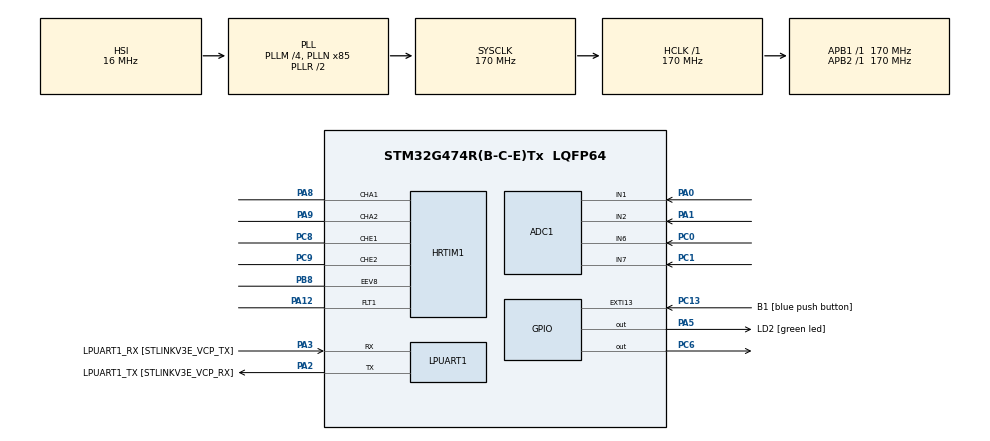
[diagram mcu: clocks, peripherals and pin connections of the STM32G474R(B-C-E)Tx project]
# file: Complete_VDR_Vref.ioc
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ADC1.Channel-0\#ChannelRegularConversion=ADC_CHANNEL_2
ADC1.Channel-1\#ChannelRegularConversion=ADC_CHANNEL_1
ADC1.Channel-2\#ChannelRegularConversion=ADC_CHANNEL_7
ADC1.Channel-3\#ChannelRegularConversion=ADC_CHANNEL_6
ADC1.ContinuousConvMode=ENABLE
ADC1.DMAContinuousRequests=ENABLE
ADC1.DiscontinuousConvMode=DISABLE
ADC1.EOCSelection=ADC_EOC_SEQ_CONV
ADC1.NbrOfConversion=4
ADC1.NbrOfConversionFlag=1
ADC1.OffsetNumber-0\#ChannelRegularConversion=ADC_OFFSET_NONE
ADC1.OffsetNumber-1\#ChannelRegularConversion=ADC_OFFSET_NONE
ADC1.OffsetNumber-2\#ChannelRegularConversion=ADC_OFFSET_NONE
ADC1.OffsetNumber-3\#ChannelRegularConversion=ADC_OFFSET_NONE
ADC1.Rank-0\#ChannelRegularConversion=1
ADC1.Rank-1\#ChannelRegularConversion=2
ADC1.Rank-2\#ChannelRegularConversion=3
ADC1.Rank-3\#ChannelRegularConversion=4
ADC1.SamplingTime-0\#ChannelRegularConversion=ADC_SAMPLETIME_47CYCLES_5
ADC1.SamplingTime-1\#ChannelRegularConversion=ADC_SAMPLETIME_47CYCLES_5
ADC1.SamplingTime-2\#ChannelRegularConversion=ADC_SAMPLETIME_47CYCLES_5
ADC1.SamplingTime-3\#ChannelRegularConversion=ADC_SAMPLETIME_47CYCLES_5
ADC1.master=1
Dma.ADC1.0.Direction=DMA_PERIPH_TO_MEMORY
Dma.ADC1.0.EventEnable=DISABLE
Dma.ADC1.0.Instance=DMA1_Channel1
Dma.ADC1.0.MemDataAlignment=DMA_MDATAALIGN_WORD
Dma.ADC1.0.MemInc=DMA_MINC_ENABLE
Dma.ADC1.0.Mode=DMA_CIRCULAR
Dma.ADC1.0.PeriphDataAlignment=DMA_PDATAALIGN_WORD
Dma.ADC1.0.PeriphInc=DMA_PINC_DISABLE
Dma.ADC1.0.Polarity=HAL_DMAMUX_REQ_GEN_RISING
Dma.ADC1.0.Priority=DMA_PRIORITY_LOW
Dma.ADC1.0.RequestNumber=1
Dma.ADC1.0.SignalID=NONE
Dma.ADC1.0.SyncEnable=DISABLE
Dma.ADC1.0.SyncPolarity=HAL_DMAMUX_SYNC_NO_EVENT
Dma.ADC1.0.SyncRequestNumber=1
Dma.ADC1.0.SyncSignalID=NONE
Dma.Request0=ADC1
HRTIM1.CompareUnit1-Output_TA1TA2=HRTIM_COMPAREUNIT_1
HRTIM1.CompareUnit1-Output_TE1TE2=HRTIM_COMPAREUNIT_1
HRTIM1.CompareUnit2-Output_TA1TA2=HRTIM_COMPAREUNIT_2
HRTIM1.CompareUnit2-Output_TE1TE2=HRTIM_COMPAREUNIT_2
HRTIM1.CompareUnit3-Output_TA1TA2=HRTIM_COMPAREUNIT_3
HRTIM1.CompareUnit3-Output_TE1TE2=HRTIM_COMPAREUNIT_3
HRTIM1.CompareUnit4-Output_TE1TE2=HRTIM_COMPAREUNIT_4
HRTIM1.CompareValue1-Output_TA1TA2=218
HRTIM1.CompareValue1-Output_TE1TE2=340
HRTIM1.CompareValue2-Output_TA1TA2=10880
HRTIM1.CompareValue2-Output_TE1TE2=544
HRTIM1.CompareValue3-Output_TA1TA2=11098
HRTIM1.CompareValue3-Output_TE1TE2=2584
HRTIM1.CompareValue4-Output_TE1TE2=2652
HRTIM1.Event1-Output_TE1TE2=__NULL
HRTIM1.Event8-Output_TE1TE2=HRTIM_EVENT_8
HRTIM1.FaultLevel1-Output_TE1TE2=HRTIM_OUTPUTFAULTLEVEL_INACTIVE
HRTIM1.Filter8-Output_TE1TE2=HRTIM_TIMEEVFLT_BLANKINGCMP4
HRTIM1.HRTIMInterruptResquests1=HRTIM_IT_FLT1
HRTIM1.NumberResetSource1-Output_TA1TA2=1
HRTIM1.NumberResetSource1-Output_TE1TE2=1
HRTIM1.NumberResetSource2_TA=1
HRTIM1.NumberResetSource2_TE=1
HRTIM1.NumberResetTrigger-Output_TA1TA2=1
HRTIM1.NumberResetTrigger-Output_TE1TE2=1
HRTIM1.NumberSetSource1-Output_TA1TA2=1
HRTIM1.NumberSetSource1-Output_TE1TE2=1
HRTIM1.NumberSetSource2_TA=1
HRTIM1.NumberSetSource2_TE=1
HRTIM1.Periode_TA=20923
HRTIM1.Periode_TE=8138
HRTIM1.Polarity_EEV8=HRTIM_EVENTPOLARITY_LOW
HRTIM1.Polarity_FaultLine1=HRTIM_FAULTPOLARITY_LOW
HRTIM1.PrescalerRatio_TE=HRTIM_PRESCALERRATIO_MUL4
HRTIM1.ResetOutput1_Source1-Output_TA1TA2=HRTIM_OUTPUTRESET_TIMCMP1
HRTIM1.ResetOutput1_Source1-Output_TE1TE2=HRTIM_OUTPUTRESET_TIMCMP3
HRTIM1.ResetOutput2_Source1-Output_TA1TA2=HRTIM_OUTPUTRESET_TIMCMP3
HRTIM1.ResetOutput2_Source1-Output_TE1TE2=HRTIM_OUTPUTRESET_TIMCMP1
HRTIM1.ResetTrigger1-Output_TA1TA2=HRTIM_TIMRESETTRIGGER_UPDATE
HRTIM1.ResetTrigger1-Output_TE1TE2=HRTIM_TIMRESETTRIGGER_UPDATE
HRTIM1.Sensitivity_EEV8=HRTIM_EVENTSENSITIVITY_FALLINGEDGE
HRTIM1.SetOutput1_Source1-Output_TA1TA2=HRTIM_OUTPUTSET_TIMPER
HRTIM1.SetOutput1_Source1-Output_TE1TE2=HRTIM_OUTPUTSET_TIMCMP2
HRTIM1.SetOutput2_Source1-Output_TA1TA2=HRTIM_OUTPUTSET_TIMCMP2
HRTIM1.SetOutput2_Source1-Output_TE1TE2=HRTIM_OUTPUTSET_TIMCMP4
Mcu.Family=STM32G4
Mcu.Name=STM32G474R(B-C-E)Tx
Mcu.Package=LQFP64
NVIC.EXTI15_10_IRQn=true\:0\:0\:false\:false\:true\:true\:true\:true
NVIC.HRTIM1_FLT_IRQn=true\:0\:0\:false\:false\:true\:true\:true\:true
NVIC.PriorityGroup=NVIC_PRIORITYGROUP_4
NVIC.TIM2_IRQn=true\:0\:0\:false\:false\:true\:true\:true\:true
PA0.Mode=IN1-Single-Ended
PA0.Signal=ADC1_IN1
PA1.Mode=IN2-Single-Ended
PA1.Signal=ADC1_IN2
PA12.Mode=Fault_Enable1
PA12.Signal=HRTIM1_FLT1
PA13.GPIO_Label=T_SWDIO
PA13.Mode=Serial_Wire
PA13.Signal=SYS_JTMS-SWDIO
PA14.GPIO_Label=T_SWCLK
PA14.Mode=Serial_Wire
PA14.Signal=SYS_JTCK-SWCLK
PA2.GPIO_Label=LPUART1_TX [STLINKV3E_VCP_RX]
PA2.Mode=Asynchronous
PA2.Signal=LPUART1_TX
PA3.GPIO_Label=LPUART1_RX [STLINKV3E_VCP_TX]
PA3.Mode=Asynchronous
PA3.Signal=LPUART1_RX
PA5.GPIO_Label=LD2 [green led]
PA5.Signal=GPIO_Output
PA8.Mode=Output_TA1TA2
PA8.Signal=HRTIM1_CHA1
PA9.Mode=Output_TA1TA2
PA9.Signal=HRTIM1_CHA2
PB3.GPIO_Label=T_SWO
PB3.Signal=SYS_JTDO-SWO
PB8-BOOT0.Mode=External_Evt_enable8
PB8-BOOT0.Signal=HRTIM1_EEV8
PC0.Mode=IN6-Single-Ended
PC0.Signal=ADC1_IN6
PC1.Mode=IN7-Single-Ended
PC1.Signal=ADC1_IN7
PC13.GPIO_Label=B1 [blue push button]
PC13.Signal=GPXTI13
PC14-OSC32_IN.Mode=LSE-External-Oscillator
PC14-OSC32_IN.Signal=RCC_OSC32_IN
PC15-OSC32_OUT.Mode=LSE-External-Oscillator
PC15-OSC32_OUT.Signal=RCC_OSC32_OUT
PC3.Signal=ADC1_IN9
PC6.Signal=GPIO_Output
PC8.Mode=Output_TE1TE2
PC8.Signal=HRTIM1_CHE1
PC9.Mode=Output_TE1TE2
PC9.Signal=HRTIM1_CHE2
PF0-OSC_IN.Mode=HSE-External-Oscillator
PF0-OSC_IN.Signal=RCC_OSC_IN
PF1-OSC_OUT.Mode=HSE-External-Oscillator
PF1-OSC_OUT.Signal=RCC_OSC_OUT
ProjectManager.HeapSize=0x200
ProjectManager.StackSize=0x400
ProjectManager.TargetToolchain=STM32CubeIDE
RCC.ADC12Freq_Value=170000000
RCC.ADC345Freq_Value=170000000
RCC.AHBFreq_Value=170000000
RCC.APB1Freq_Value=170000000
RCC.APB1TimFreq_Value=170000000
RCC.APB2Freq_Value=170000000
RCC.APB2TimFreq_Value=170000000
RCC.CortexFreq_Value=170000000
RCC.EXTERNAL_CLOCK_VALUE=12288000
RCC.HCLKFreq_Value=170000000
RCC.HSE_VALUE=24000000
RCC.HSI48_VALUE=48000000
RCC.HSI_VALUE=16000000
RCC.PLLM=RCC_PLLM_DIV4
RCC.PLLN=85
RCC.RTCClockSelection=RCC_RTCCLKSOURCE_LSE
RCC.SYSCLKFreq_VALUE=170000000
RCC.SYSCLKSource=RCC_SYSCLKSOURCE_PLLCLK
RCC.USBFreq_Value=170000000
RCC.VCOOutputFreq_Value=340000000
TIM2.AutoReloadPreload=TIM_AUTORELOAD_PRELOAD_ENABLE
TIM2.Channel-PWM\ Generation1\ No\ Output=TIM_CHANNEL_1
TIM2.PeriodNoDither=100000
TIM2.Prescaler=1699
TIM2.TIM_MasterOutputTrigger=TIM_TRGO_UPDATE
VP_SYS_VS_DBSignals.Mode=DisableDeadBatterySignals
VP_TIM2_VS_ClockSourceINT.Mode=Internal
VP_TIM2_VS_no_output1.Mode=PWM Generation1 No Output
board=NUCLEO-G474RE

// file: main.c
/* USER CODE BEGIN Header */
/**
This code represents the first draft for the VDR release (rel2) control with Vref control, including the LLC soft-start:
- TIM2 is used to trigger the duty cycle variation and the ADC conversions (selectable period from 100us to 1s)
- ADC1_1/7/6/2 are used to acquire Iin, Vout, Vb, Vin respectively
- HRTIM_CHA is used for the LLC signals
- HRTIM_CHE is used for the boost signals
- The input signal at PB8 is used as an external event (EEV8) to trigger the BCM negative current extension period

The code:
- initializes the peripherals and declares the constants / variables
- starts the LLC soft-startup phase (at each TIM2 counter period event, the equivalent duty cycle decreases)
- implements the Vref P&O control by updating Ton until the Vref is reached, taking care of eventual overvoltages

  */
/* USER CODE END Header */
#include "main.h"

/* USER CODE BEGIN PD */
#define MIN(a, b) ((a) < (b) ? (a) : (b))
#define MAX(a, b) ((a) > (b) ? (a) : (b))
/* USER CODE END PD */

ADC_HandleTypeDef hadc1;
DMA_HandleTypeDef hdma_adc1;

HRTIM_HandleTypeDef hhrtim1;

UART_HandleTypeDef hlpuart1;

TIM_HandleTypeDef htim2;

/* USER CODE BEGIN PV */

	/* Variables: generic */
	volatile int Regime_Startupn = 0;
	volatile int Boost_SDn = 0;
	volatile int CS_normaln = 0;
	volatile int count = 0;
	uint32_t ADC_Value[4];
	volatile uint32_t Vin_tot = 0;
	volatile uint32_t Iin_tot = 0;
	volatile uint32_t Vb_tot = 0;
	volatile uint32_t Vout_tot = 0;
	volatile float Vin_average = 0;
	volatile float Iin_average = 0;
	volatile float Vb_average = 0;
	volatile float Vout_average = 0;
	volatile float Pin = 0;
	volatile int OV_flag = 0;
	volatile int OVexit_flag = 0;
	volatile int Proximity_flag = 0;
	volatile int Sign_flag = 0;
	volatile int Vref_flag = 0;
	volatile int DTextmax_flag =0;
	volatile int BCM_LPn = 1;
	volatile int DeltaVth = 20;
	volatile float G2;
	volatile float DeltaV;

	/* Constants: prototype 1 */
	//const float Gain_Vin = 14.55;
	//const float Offset_Iin = 0.3287;
	//const float Gain_Iin = 0.099;
	//const float Gain_Vout = 137.1;
	//const float Gain_Vb = 81.36;

	/* Constants: prototype 2 */
	const float Gain_Vin = 14.31;
	const float Offset_Iin = 0.3327;
	const float Gain_Iin = 0.099;
	const float Gain_Vout = 140.8;
	const float Gain_Vb = 83.05;

	/* Constants: generic */
	const int count_tot = 10;
	const uint16_t Vout_max_int = 3427;			// Corresponding to 380V (modify in case of gain adjustment)
	const uint16_t Vout_min_hyst = 3066;		// Corresponding to 340V (modify in case of gain adjustment)
	const float L = 33e-06;
	const float Isat = 15;
	const int DeltaVth_min = 5;
	const int DeltaV_max = 20;

	/* Constants: LLC timing (Tsw could be modified in case the final fsw is different from 250kHz)  */
	const float fHRTIMA = 5.44e+09;
	const float Tsw = 3.846e-06;	// 260kHz
	const float Tsw_HCS = 4.167e-6;	// 240kHz
	const float dtmin = 50e-09;

	/* Variables: LLC timing */
	volatile float Deq = 0.01;
	volatile uint16_t Tsw_ticks;

	/* Constants: Boost timing  */
	const float fHRTIME = 6.8e+08;
	const float fswBmin = 20e+03;
	const float fswBmax = 200e+03;
	const float dtshort = 300e-09;
	const float dtlong = 600e-09;
	const float Tonmin = 200e-09;
	const float DeltaTon_min = 100e-09;
	const float Tswbmin = 4.444e-06;		// Corresponding to 225kHz

	/* Variables: Boost timing */
	volatile float DText = 200e-09;
	volatile float Ton = 6.522e-06;
	volatile uint16_t Ton_ticks;
	volatile uint16_t DText_ticks;
	volatile float DeltaTon_max = 2.0e-06;
	volatile float DeltaTon = 1.0e-06;
	volatile float Tonmax = 2e-05;
	volatile float Tonmin_BCM;
	volatile float IR = -0.05;
	volatile float DeltaIR = 0.02;

	/* Constants to be set for desired working point */
	const int Vref = 250;
	const float IRmin = -0.05;

/* USER CODE END PV */

void SystemClock_Config(void);
static void MX_GPIO_Init(void);
static void MX_DMA_Init(void);
static void MX_LPUART1_UART_Init(void);
static void MX_ADC1_Init(void);
static void MX_HRTIM1_Init(void);
static void MX_TIM2_Init(void);

int main(void)
{

  /* MCU Configuration--------------------------------------------------------*/

  /* Reset of all peripherals, Initializes the Flash interface and the Systick. */
  HAL_Init();

  /* Configure the system clock */
  SystemClock_Config();

  /* Initialize all configured peripherals */
  MX_GPIO_Init();
  MX_DMA_Init();
  MX_LPUART1_UART_Init();
  MX_ADC1_Init();
  MX_HRTIM1_Init();
  MX_TIM2_Init();
  /* USER CODE BEGIN 2 */

  /* Start the calibration of the ADC */
  HAL_ADCEx_Calibration_Start(&hadc1, ADC_SINGLE_ENDED);

  /* Start the ADC in DMA mode */
  HAL_ADC_Start_DMA(&hadc1, ADC_Value, 4);

  /* Set the period of trigger timer TIM2 at a desired value: 9 (10kHz) -- 99999 (1Hz). 1Hz is good for debugging */
  __HAL_TIM_SET_AUTORELOAD(&htim2, 99999);

  /* Computation of default timing intervals */
  Tsw_ticks = (uint16_t)((Tsw*(1-CS_normaln)+Tsw_HCS*CS_normaln)*fHRTIMA);

  /* Assignment of period and compare values to HRTIM_TA (LLC modulation signals) */
  __HAL_HRTIM_SETPERIOD(&hhrtim1,  HRTIM_TIMERINDEX_TIMER_A, (uint16_t)((1+CS_normaln)*Tsw_ticks));
  __HAL_HRTIM_SETCOMPARE(&hhrtim1,  HRTIM_TIMERINDEX_TIMER_A, HRTIM_COMPAREUNIT_1, (uint16_t)(Deq*Tsw_ticks));
  __HAL_HRTIM_SETCOMPARE(&hhrtim1,  HRTIM_TIMERINDEX_TIMER_A, HRTIM_COMPAREUNIT_2, (uint16_t)(Tsw_ticks/2));
  __HAL_HRTIM_SETCOMPARE(&hhrtim1,  HRTIM_TIMERINDEX_TIMER_A, HRTIM_COMPAREUNIT_3, (uint16_t)((1+2*Deq)*Tsw_ticks/2));

  // Half-cycle skipping
  //__HAL_HRTIM_SETCOMPARE(&hhrtim1,  HRTIM_TIMERINDEX_TIMER_A, HRTIM_COMPAREUNIT_2, (uint16_t)((1+CS_normaln)*Tsw_ticks/2));
  //__HAL_HRTIM_SETCOMPARE(&hhrtim1,  HRTIM_TIMERINDEX_TIMER_A, HRTIM_COMPAREUNIT_3, (uint16_t)((1+CS_normaln+2*Deq)*Tsw_ticks/2));

  /* Assignment of compare values to HRTIM_TE (Boost modulation signals) */
  __HAL_HRTIM_SETCOMPARE(&hhrtim1,  HRTIM_TIMERINDEX_TIMER_E, HRTIM_COMPAREUNIT_1, (uint16_t)(DText*fHRTIME));
  __HAL_HRTIM_SETCOMPARE(&hhrtim1,  HRTIM_TIMERINDEX_TIMER_E, HRTIM_COMPAREUNIT_2, (uint16_t)((DText+dtlong)*fHRTIME));
  __HAL_HRTIM_SETCOMPARE(&hhrtim1,  HRTIM_TIMERINDEX_TIMER_E, HRTIM_COMPAREUNIT_3, (uint16_t)((DText+dtlong+Ton)*fHRTIME));
  __HAL_HRTIM_SETCOMPARE(&hhrtim1,  HRTIM_TIMERINDEX_TIMER_E, HRTIM_COMPAREUNIT_4, (uint16_t)((DText+dtlong+Ton+dtshort)*fHRTIME));

  /* Activate Boost signals (leave "Boost_SDn=0" for LLC only debug)*/
  Boost_SDn = 1;
  HAL_GPIO_WritePin(GPIOC, GPIO_PIN_6, Boost_SDn);
  HAL_HRTIM_SimplePWMStart(&hhrtim1, HRTIM_TIMERINDEX_TIMER_E, HRTIM_OUTPUT_TE1);
  HAL_HRTIM_SimplePWMStart(&hhrtim1, HRTIM_TIMERINDEX_TIMER_E, HRTIM_OUTPUT_TE2);

  HAL_Delay(5000);

  /* Start LLC timers */
  HAL_HRTIM_SimplePWMStart(&hhrtim1, HRTIM_TIMERINDEX_TIMER_A, HRTIM_OUTPUT_TA1);
  HAL_HRTIM_SimplePWMStart(&hhrtim1, HRTIM_TIMERINDEX_TIMER_A, HRTIM_OUTPUT_TA2);

  /* Soft startup phase: boost inactive (SDn = 0) */
  HAL_GPIO_WritePin(GPIOC, GPIO_PIN_6, Boost_SDn);

  /* Start the timer with interrupt */
  HAL_TIM_Base_Start_IT(&htim2);

  /* Handle soft startup: Deq=49% corresponds to 40ns deadtime, Deq=48% corresponds to 80ns deadtime (with 250kHz)*/
  /* Use Deq<0.475 for 48% duty, and Deq<0.485 for 49% duty */
  while (Deq < 0.475)
	{

	}

	/* After that the equivalent duty cycle has reached around 50%, stop the TIM2 (no more callbacks), pause and then start with the timer again with the steady state */
	HAL_TIM_Base_Stop_IT(&htim2);

	/* Start the timer with interrupt, which now will trigger the ADC conversions */
	//Regime_Startupn = 1;
	//HAL_TIM_Base_Start_IT(&htim2);

  /* USER CODE END 2 */

  /* Infinite loop */
  while (1)
  {

    /* USER CODE BEGIN 3 */
		if (OV_flag == 1) {

			/* Overvoltage state: reset count, stop the PWM outputs */
			count = 0;
			Vin_tot = 0;
			Iin_tot = 0;
			Vb_tot = 0;
			Vout_tot = 0;

			/* Stop HRTIM channels for the boost signals */
			HAL_HRTIM_SoftwareReset(&hhrtim1, HRTIM_TIMERRESET_TIMER_E);
			HAL_HRTIM_SimplePWMStop(&hhrtim1, HRTIM_TIMERINDEX_TIMER_E, HRTIM_OUTPUT_TE1);
			HAL_HRTIM_SimplePWMStop(&hhrtim1, HRTIM_TIMERINDEX_TIMER_E, HRTIM_OUTPUT_TE2);

		} else if (OVexit_flag == 1) {

			/* Exit the OV state: reset flag, reactivate PWM outputs with default timing */
			OVexit_flag = 0;
			Ton = 3e-06;
			DText = 500e-09;

			/* Update compare registers values */
			__HAL_HRTIM_SETCOMPARE(&hhrtim1,  HRTIM_TIMERINDEX_TIMER_E, HRTIM_COMPAREUNIT_1, (uint16_t)(DText*fHRTIME));
			__HAL_HRTIM_SETCOMPARE(&hhrtim1,  HRTIM_TIMERINDEX_TIMER_E, HRTIM_COMPAREUNIT_2, (uint16_t)((DText+dtlong)*fHRTIME));
			__HAL_HRTIM_SETCOMPARE(&hhrtim1,  HRTIM_TIMERINDEX_TIMER_E, HRTIM_COMPAREUNIT_3, (uint16_t)((DText+dtlong+Ton)*fHRTIME));
			__HAL_HRTIM_SETCOMPARE(&hhrtim1,  HRTIM_TIMERINDEX_TIMER_E, HRTIM_COMPAREUNIT_4, (uint16_t)((DText+dtlong+Ton+dtshort)*fHRTIME));

			/* Activate again the HRTIM channels */
			HAL_HRTIM_SimplePWMStart(&hhrtim1, HRTIM_TIMERINDEX_TIMER_E, HRTIM_OUTPUT_TE1);
			HAL_HRTIM_SimplePWMStart(&hhrtim1, HRTIM_TIMERINDEX_TIMER_E, HRTIM_OUTPUT_TE2);

		} else if (count == count_tot) {

			/* Reset count */
			count = 0;

			/* Compute average Vin, Iin, Pin, reset Vin and Iin summations, update Ton */
			Vin_average = (float) ((((float) Vin_tot/count_tot)*3.312/4095)*Gain_Vin);

			// IF THE INPUT CURRENT SENSOR IS NOT PRESENT, ASSUME FIXED Iin_average TO AVOID NEGATIVE DeltaTon_max
			//Iin_average = (float) (((3.312/4095)*((float) Iin_tot/count_tot)-Offset_Iin)/Gain_Iin);
			Iin_average = 10;

			Vb_average = (float) ((((float) Vb_tot/count_tot)*3.312/4095)*Gain_Vb);
			Vout_average = (float)((((float) Vout_tot/count_tot)*3.312/4095)*Gain_Vout);
			DeltaV = (float) (Vout_average-Vref);
			Vin_tot = 0;
			Iin_tot = 0;
			Vout_tot = 0;
			Vb_tot = 0;

			/* Compute boundaries of time intervals according to working point */
			DeltaTon_max = (float) (2*L*Iin_average*DeltaV_max/(Vin_average*Vout_average));
			Tonmax = (float) (L*(Isat-IRmin)/Vin_average);
			G2 = (float) (Vb_average/Vin_average);
			Tonmin_BCM = (float) (Tswbmin*(G2-1)/G2);

			/* Evaluation of flags */

			/* Polarity flag */
			if (DeltaV > 0) {
				Sign_flag = 1;
			} else {
				Sign_flag = 0;
			}

			/* Proximity flag */
			if (DeltaV > -DeltaVth && DeltaV < DeltaVth) {
				Proximity_flag = 1;

				/* Vref convergence flag */
				if (DeltaV > -DeltaVth_min && DeltaV < DeltaVth_min) {
					Vref_flag = 1;
				} else {
					Vref_flag = 0;
				}
			} else {
				Proximity_flag = 0;
				Vref_flag = 0;
			}

			/* Mode selector for the boost control according to Ton and IR values */
			if (BCM_LPn == 0 && IR>IRmin) {
				/* Exit the low power mode: come back to Ton modulation */
				BCM_LPn = 1;
				IR = IRmin;
			} else if (BCM_LPn == 1 && Ton<Tonmin_BCM) {
				/* Enter the low power mode: dt_ext modulation */
				BCM_LPn = 0;
			}
			/* If none of the two conditions is satisfied, it means that the controller remains in the previous state (no BCM_LPn change) */

			/* Ton update according to Vout magnitude and distance to Vref */
			if (Vref_flag == 0) {
				/* Not too close to Vref */

				if (BCM_LPn == 1) {
				/* Ton modulation, adaptive step according to closeness to Vref and polarity */

					if (Proximity_flag == 0) {

						/* Far from Vref: increase step and voltage threshold */
						DeltaTon = MIN(2*DeltaTon, DeltaTon_max);
						DeltaVth = MIN(DeltaVth+5, 20);

						if (Sign_flag == 0) {
							/* Far and below Vref: increase Ton */
							Ton = MIN(Tonmax, Ton+DeltaTon);
						} else {
							/* Far and above Vref: decrease Ton */
							Ton = MAX(Tonmin, Ton-DeltaTon);
						}

					} else {

						/* Close to Vref: decrease step and power threshold */
						DeltaTon = MAX(0.5*DeltaTon, DeltaTon_min);
						DeltaVth = MAX(DeltaVth-5, DeltaVth_min);

						if (Sign_flag == 0) {
							/* Close and below Vref: increase Ton */
							Ton = MIN(Tonmax, Ton+DeltaTon);
						} else {
							/* Close and above Vref: decrease Ton */
							Ton = MAX(Tonmin, Ton-DeltaTon);
						}
					}

					/* Update of DT_ext according to minimum IR value (default value) and instantaneous boost gain */
					DText = (float) MIN((L*(-IRmin)/(Vin_average*(G2-1))), Ton/(2*(G2-1)));

				} else {
				/* DText modulation: update IR value and compute the corresponding DText */

					if (Sign_flag == 0) {
						/* Below Vref: increase IR towards 0 (increase power) */
						IR = IR+DeltaIR;
					} else {
						/* Above Vref: decrease IR further from 0 (decrease power), but only if there is still the possibility to increase DText ensuring positive power (DText<Ton/2) */

						if (DTextmax_flag == 0) {
							/* There is still the possibility to decrease IR (increase DText) */
							IR = IR-DeltaIR;
						}
					}

					/* Update of DT_ext according to updated IR */
					DText = (float) MIN((L*(-IR)/(Vin_average*(G2-1))), Ton/(2*(G2-1)));

					/* If the maximum DText Ton/(2*(G2-1)) has been reached, set the corresponding flag to 0 and at the next cycles IR will no more be reduced */
					if (DText == Ton/(2*(G2-1))) {
						DTextmax_flag = 1;
					} else {
						DTextmax_flag =0;
					}
				}

				/* Update compare registers values */
				__HAL_HRTIM_SETCOMPARE(&hhrtim1,  HRTIM_TIMERINDEX_TIMER_E, HRTIM_COMPAREUNIT_1, (uint16_t)(DText*fHRTIME));
				__HAL_HRTIM_SETCOMPARE(&hhrtim1,  HRTIM_TIMERINDEX_TIMER_E, HRTIM_COMPAREUNIT_2, (uint16_t)((DText+dtlong)*fHRTIME));
				__HAL_HRTIM_SETCOMPARE(&hhrtim1,  HRTIM_TIMERINDEX_TIMER_E, HRTIM_COMPAREUNIT_3, (uint16_t)((DText+dtlong+Ton)*fHRTIME));
				__HAL_HRTIM_SETCOMPARE(&hhrtim1,  HRTIM_TIMERINDEX_TIMER_E, HRTIM_COMPAREUNIT_4, (uint16_t)((DText+dtlong+Ton+dtshort)*fHRTIME));

			}
			/* If the outer "if" is not satisfied, it means that P is already very close to Pref and nothing must be done, irrespectively of the boost mode */

		}
		/* Close Overvoltage or Vref P&O mode for Ton/DText update */
	}
  /* USER CODE END 3 */
}

void SystemClock_Config(void)
{
  RCC_OscInitTypeDef RCC_OscInitStruct = {0};
  RCC_ClkInitTypeDef RCC_ClkInitStruct = {0};

  /** Configure the main internal regulator output voltage
  */
  HAL_PWREx_ControlVoltageScaling(PWR_REGULATOR_VOLTAGE_SCALE1_BOOST);

  /** Initializes the RCC Oscillators according to the specified parameters
  * in the RCC_OscInitTypeDef structure.
  */
  RCC_OscInitStruct.OscillatorType = RCC_OSCILLATORTYPE_HSI;
  RCC_OscInitStruct.HSIState = RCC_HSI_ON;
  RCC_OscInitStruct.HSICalibrationValue = RCC_HSICALIBRATION_DEFAULT;
  RCC_OscInitStruct.PLL.PLLState = RCC_PLL_ON;
  RCC_OscInitStruct.PLL.PLLSource = RCC_PLLSOURCE_HSI;
  RCC_OscInitStruct.PLL.PLLM = RCC_PLLM_DIV4;
  RCC_OscInitStruct.PLL.PLLN = 85;
  RCC_OscInitStruct.PLL.PLLP = RCC_PLLP_DIV2;
  RCC_OscInitStruct.PLL.PLLQ = RCC_PLLQ_DIV2;
  RCC_OscInitStruct.PLL.PLLR = RCC_PLLR_DIV2;
  if (HAL_RCC_OscConfig(&RCC_OscInitStruct) != HAL_OK)
  {
    Error_Handler();
  }

  /** Initializes the CPU, AHB and APB buses clocks
  */
  RCC_ClkInitStruct.ClockType = RCC_CLOCKTYPE_HCLK|RCC_CLOCKTYPE_SYSCLK
                              |RCC_CLOCKTYPE_PCLK1|RCC_CLOCKTYPE_PCLK2;
  RCC_ClkInitStruct.SYSCLKSource = RCC_SYSCLKSOURCE_PLLCLK;
  RCC_ClkInitStruct.AHBCLKDivider = RCC_SYSCLK_DIV1;
  RCC_ClkInitStruct.APB1CLKDivider = RCC_HCLK_DIV1;
  RCC_ClkInitStruct.APB2CLKDivider = RCC_HCLK_DIV1;

  if (HAL_RCC_ClockConfig(&RCC_ClkInitStruct, FLASH_LATENCY_4) != HAL_OK)
  {
    Error_Handler();
  }
}

static void MX_ADC1_Init(void)
{

  ADC_MultiModeTypeDef multimode = {0};
  ADC_ChannelConfTypeDef sConfig = {0};

  /** Common config
  */
  hadc1.Instance = ADC1;
  hadc1.Init.ClockPrescaler = ADC_CLOCK_SYNC_PCLK_DIV4;
  hadc1.Init.Resolution = ADC_RESOLUTION_12B;
  hadc1.Init.DataAlign = ADC_DATAALIGN_RIGHT;
  hadc1.Init.GainCompensation = 0;
  hadc1.Init.ScanConvMode = ADC_SCAN_ENABLE;
  hadc1.Init.EOCSelection = ADC_EOC_SEQ_CONV;
  hadc1.Init.LowPowerAutoWait = DISABLE;
  hadc1.Init.ContinuousConvMode = ENABLE;
  hadc1.Init.NbrOfConversion = 4;
  hadc1.Init.DiscontinuousConvMode = DISABLE;
  hadc1.Init.ExternalTrigConv = ADC_SOFTWARE_START;
  hadc1.Init.ExternalTrigConvEdge = ADC_EXTERNALTRIGCONVEDGE_NONE;
  hadc1.Init.DMAContinuousRequests = ENABLE;
  hadc1.Init.Overrun = ADC_OVR_DATA_PRESERVED;
  hadc1.Init.OversamplingMode = DISABLE;
  if (HAL_ADC_Init(&hadc1) != HAL_OK)
  {
    Error_Handler();
  }

  /** Configure the ADC multi-mode
  */
  multimode.Mode = ADC_MODE_INDEPENDENT;
  if (HAL_ADCEx_MultiModeConfigChannel(&hadc1, &multimode) != HAL_OK)
  {
    Error_Handler();
  }

  /** Configure Regular Channel
  */
  sConfig.Channel = ADC_CHANNEL_2;
  sConfig.Rank = ADC_REGULAR_RANK_1;
  sConfig.SamplingTime = ADC_SAMPLETIME_47CYCLES_5;
  sConfig.SingleDiff = ADC_SINGLE_ENDED;
  sConfig.OffsetNumber = ADC_OFFSET_NONE;
  sConfig.Offset = 0;
  if (HAL_ADC_ConfigChannel(&hadc1, &sConfig) != HAL_OK)
  {
    Error_Handler();
  }

  /** Configure Regular Channel
  */
  sConfig.Channel = ADC_CHANNEL_1;
  sConfig.Rank = ADC_REGULAR_RANK_2;
  if (HAL_ADC_ConfigChannel(&hadc1, &sConfig) != HAL_OK)
  {
    Error_Handler();
  }

  /** Configure Regular Channel
  */
  sConfig.Channel = ADC_CHANNEL_7;
  sConfig.Rank = ADC_REGULAR_RANK_3;
  if (HAL_ADC_ConfigChannel(&hadc1, &sConfig) != HAL_OK)
  {
    Error_Handler();
  }

  /** Configure Regular Channel
  */
  sConfig.Channel = ADC_CHANNEL_6;
  sConfig.Rank = ADC_REGULAR_RANK_4;
  if (HAL_ADC_ConfigChannel(&hadc1, &sConfig) != HAL_OK)
  {
    Error_Handler();
  }

}

static void MX_HRTIM1_Init(void)
{

  HRTIM_EventCfgTypeDef pEventCfg = {0};
  HRTIM_FaultCfgTypeDef pFaultCfg = {0};
  HRTIM_FaultBlankingCfgTypeDef pFaultBlkCfg = {0};
  HRTIM_TimeBaseCfgTypeDef pTimeBaseCfg = {0};
  HRTIM_TimerCtlTypeDef pTimerCtl = {0};
  HRTIM_TimerCfgTypeDef pTimerCfg = {0};
  HRTIM_CompareCfgTypeDef pCompareCfg = {0};
  HRTIM_TimerEventFilteringCfgTypeDef pTimerEventFilteringCfg = {0};
  HRTIM_OutputCfgTypeDef pOutputCfg = {0};

  hhrtim1.Instance = HRTIM1;
  hhrtim1.Init.HRTIMInterruptResquests = HRTIM_IT_FLT1;
  hhrtim1.Init.SyncOptions = HRTIM_SYNCOPTION_NONE;
  if (HAL_HRTIM_Init(&hhrtim1) != HAL_OK)
  {
    Error_Handler();
  }
  if (HAL_HRTIM_DLLCalibrationStart(&hhrtim1, HRTIM_CALIBRATIONRATE_3) != HAL_OK)
  {
    Error_Handler();
  }
  if (HAL_HRTIM_PollForDLLCalibration(&hhrtim1, 10) != HAL_OK)
  {
    Error_Handler();
  }
  if (HAL_HRTIM_EventPrescalerConfig(&hhrtim1, HRTIM_EVENTPRESCALER_DIV1) != HAL_OK)
  {
    Error_Handler();
  }
  pEventCfg.Source = HRTIM_EEV8SRC_GPIO;
  pEventCfg.Polarity = HRTIM_EVENTPOLARITY_LOW;
  pEventCfg.Sensitivity = HRTIM_EVENTSENSITIVITY_FALLINGEDGE;
  pEventCfg.Filter = HRTIM_EVENTFILTER_NONE;
  if (HAL_HRTIM_EventConfig(&hhrtim1, HRTIM_EVENT_8, &pEventCfg) != HAL_OK)
  {
    Error_Handler();
  }
  if (HAL_HRTIM_FaultPrescalerConfig(&hhrtim1, HRTIM_FAULTPRESCALER_DIV1) != HAL_OK)
  {
    Error_Handler();
  }
  pFaultCfg.Source = HRTIM_FAULTSOURCE_DIGITALINPUT;
  pFaultCfg.Polarity = HRTIM_FAULTPOLARITY_LOW;
  pFaultCfg.Filter = HRTIM_FAULTFILTER_NONE;
  pFaultCfg.Lock = HRTIM_FAULTLOCK_READWRITE;
  if (HAL_HRTIM_FaultConfig(&hhrtim1, HRTIM_FAULT_1, &pFaultCfg) != HAL_OK)
  {
    Error_Handler();
  }
  pFaultBlkCfg.Threshold = 0;
  pFaultBlkCfg.ResetMode = HRTIM_FAULTCOUNTERRST_UNCONDITIONAL;
  pFaultBlkCfg.BlankingSource = HRTIM_FAULTBLANKINGMODE_RSTALIGNED;
  if (HAL_HRTIM_FaultCounterConfig(&hhrtim1, HRTIM_FAULT_1, &pFaultBlkCfg) != HAL_OK)
  {
    Error_Handler();
  }
  if (HAL_HRTIM_FaultBlankingConfigAndEnable(&hhrtim1, HRTIM_FAULT_1, &pFaultBlkCfg) != HAL_OK)
  {
    Error_Handler();
  }
  HAL_HRTIM_FaultModeCtl(&hhrtim1, HRTIM_FAULT_1, HRTIM_FAULTMODECTL_ENABLED);
  pTimeBaseCfg.Period = 20923;
  pTimeBaseCfg.RepetitionCounter = 0x00;
  pTimeBaseCfg.PrescalerRatio = HRTIM_PRESCALERRATIO_MUL32;
  pTimeBaseCfg.Mode = HRTIM_MODE_CONTINUOUS;
  if (HAL_HRTIM_TimeBaseConfig(&hhrtim1, HRTIM_TIMERINDEX_TIMER_A, &pTimeBaseCfg) != HAL_OK)
  {
    Error_Handler();
  }
  pTimerCtl.UpDownMode = HRTIM_TIMERUPDOWNMODE_UP;
  pTimerCtl.TrigHalf = HRTIM_TIMERTRIGHALF_DISABLED;
  pTimerCtl.GreaterCMP3 = HRTIM_TIMERGTCMP3_EQUAL;
  pTimerCtl.GreaterCMP1 = HRTIM_TIMERGTCMP1_EQUAL;
  pTimerCtl.DualChannelDacEnable = HRTIM_TIMER_DCDE_DISABLED;
  if (HAL_HRTIM_WaveformTimerControl(&hhrtim1, HRTIM_TIMERINDEX_TIMER_A, &pTimerCtl) != HAL_OK)
  {
    Error_Handler();
  }
  pTimerCfg.InterruptRequests = HRTIM_TIM_IT_NONE;
  pTimerCfg.DMARequests = HRTIM_TIM_DMA_NONE;
  pTimerCfg.DMASrcAddress = 0x0000;
  pTimerCfg.DMADstAddress = 0x0000;
  pTimerCfg.DMASize = 0x1;
  pTimerCfg.HalfModeEnable = HRTIM_HALFMODE_DISABLED;
  pTimerCfg.InterleavedMode = HRTIM_INTERLEAVED_MODE_DISABLED;
  pTimerCfg.StartOnSync = HRTIM_SYNCSTART_DISABLED;
  pTimerCfg.ResetOnSync = HRTIM_SYNCRESET_DISABLED;
  pTimerCfg.DACSynchro = HRTIM_DACSYNC_NONE;
  pTimerCfg.PreloadEnable = HRTIM_PRELOAD_DISABLED;
  pTimerCfg.UpdateGating = HRTIM_UPDATEGATING_INDEPENDENT;
  pTimerCfg.BurstMode = HRTIM_TIMERBURSTMODE_MAINTAINCLOCK;
  pTimerCfg.RepetitionUpdate = HRTIM_UPDATEONREPETITION_DISABLED;
  pTimerCfg.PushPull = HRTIM_TIMPUSHPULLMODE_DISABLED;
  pTimerCfg.FaultEnable = HRTIM_TIMFAULTENABLE_NONE;
  pTimerCfg.FaultLock = HRTIM_TIMFAULTLOCK_READWRITE;
  pTimerCfg.DeadTimeInsertion = HRTIM_TIMDEADTIMEINSERTION_DISABLED;
  pTimerCfg.DelayedProtectionMode = HRTIM_TIMER_A_B_C_DELAYEDPROTECTION_DISABLED;
  pTimerCfg.UpdateTrigger = HRTIM_TIMUPDATETRIGGER_NONE;
  pTimerCfg.ResetTrigger = HRTIM_TIMRESETTRIGGER_UPDATE;
  pTimerCfg.ResetUpdate = HRTIM_TIMUPDATEONRESET_DISABLED;
  pTimerCfg.ReSyncUpdate = HRTIM_TIMERESYNC_UPDATE_UNCONDITIONAL;
  if (HAL_HRTIM_WaveformTimerConfig(&hhrtim1, HRTIM_TIMERINDEX_TIMER_A, &pTimerCfg) != HAL_OK)
  {
    Error_Handler();
  }
  pTimerCfg.DelayedProtectionMode = HRTIM_TIMER_D_E_DELAYEDPROTECTION_DISABLED;
  if (HAL_HRTIM_WaveformTimerConfig(&hhrtim1, HRTIM_TIMERINDEX_TIMER_E, &pTimerCfg) != HAL_OK)
  {
    Error_Handler();
  }
  pCompareCfg.CompareValue = 218;
  if (HAL_HRTIM_WaveformCompareConfig(&hhrtim1, HRTIM_TIMERINDEX_TIMER_A, HRTIM_COMPAREUNIT_1, &pCompareCfg) != HAL_OK)
  {
    Error_Handler();
  }
  pCompareCfg.CompareValue = 10880;
  pCompareCfg.AutoDelayedMode = HRTIM_AUTODELAYEDMODE_REGULAR;
  pCompareCfg.AutoDelayedTimeout = 0x0000;

  if (HAL_HRTIM_WaveformCompareConfig(&hhrtim1, HRTIM_TIMERINDEX_TIMER_A, HRTIM_COMPAREUNIT_2, &pCompareCfg) != HAL_OK)
  {
    Error_Handler();
  }
  pCompareCfg.CompareValue = 11098;
  if (HAL_HRTIM_WaveformCompareConfig(&hhrtim1, HRTIM_TIMERINDEX_TIMER_A, HRTIM_COMPAREUNIT_3, &pCompareCfg) != HAL_OK)
  {
    Error_Handler();
  }
  pCompareCfg.CompareValue = 2652;

  if (HAL_HRTIM_WaveformCompareConfig(&hhrtim1, HRTIM_TIMERINDEX_TIMER_E, HRTIM_COMPAREUNIT_4, &pCompareCfg) != HAL_OK)
  {
    Error_Handler();
  }
  pTimerEventFilteringCfg.Filter = HRTIM_TIMEEVFLT_BLANKINGCMP4;
  pTimerEventFilteringCfg.Latch = HRTIM_TIMEVENTLATCH_DISABLED;
  if (HAL_HRTIM_TimerEventFilteringConfig(&hhrtim1, HRTIM_TIMERINDEX_TIMER_E, HRTIM_EVENT_8, &pTimerEventFilteringCfg) != HAL_OK)
  {
    Error_Handler();
  }
  pOutputCfg.Polarity = HRTIM_OUTPUTPOLARITY_HIGH;
  pOutputCfg.SetSource = HRTIM_OUTPUTSET_TIMPER;
  pOutputCfg.ResetSource = HRTIM_OUTPUTRESET_TIMCMP1;
  pOutputCfg.IdleMode = HRTIM_OUTPUTIDLEMODE_NONE;
  pOutputCfg.IdleLevel = HRTIM_OUTPUTIDLELEVEL_INACTIVE;
  pOutputCfg.FaultLevel = HRTIM_OUTPUTFAULTLEVEL_NONE;
  pOutputCfg.ChopperModeEnable = HRTIM_OUTPUTCHOPPERMODE_DISABLED;
  pOutputCfg.BurstModeEntryDelayed = HRTIM_OUTPUTBURSTMODEENTRY_REGULAR;
  if (HAL_HRTIM_WaveformOutputConfig(&hhrtim1, HRTIM_TIMERINDEX_TIMER_A, HRTIM_OUTPUT_TA1, &pOutputCfg) != HAL_OK)
  {
    Error_Handler();
  }
  pOutputCfg.SetSource = HRTIM_OUTPUTSET_TIMCMP2;
  pOutputCfg.ResetSource = HRTIM_OUTPUTRESET_TIMCMP3;
  pOutputCfg.FaultLevel = HRTIM_OUTPUTFAULTLEVEL_INACTIVE;
  if (HAL_HRTIM_WaveformOutputConfig(&hhrtim1, HRTIM_TIMERINDEX_TIMER_E, HRTIM_OUTPUT_TE1, &pOutputCfg) != HAL_OK)
  {
    Error_Handler();
  }
  pOutputCfg.FaultLevel = HRTIM_OUTPUTFAULTLEVEL_NONE;
  if (HAL_HRTIM_WaveformOutputConfig(&hhrtim1, HRTIM_TIMERINDEX_TIMER_A, HRTIM_OUTPUT_TA2, &pOutputCfg) != HAL_OK)
  {
    Error_Handler();
  }
  pOutputCfg.SetSource = HRTIM_OUTPUTSET_TIMCMP4;
  pOutputCfg.ResetSource = HRTIM_OUTPUTRESET_TIMCMP1;
  if (HAL_HRTIM_WaveformOutputConfig(&hhrtim1, HRTIM_TIMERINDEX_TIMER_E, HRTIM_OUTPUT_TE2, &pOutputCfg) != HAL_OK)
  {
    Error_Handler();
  }
  pTimeBaseCfg.Period = 8138;
  pTimeBaseCfg.PrescalerRatio = HRTIM_PRESCALERRATIO_MUL4;
  if (HAL_HRTIM_TimeBaseConfig(&hhrtim1, HRTIM_TIMERINDEX_TIMER_E, &pTimeBaseCfg) != HAL_OK)
  {
    Error_Handler();
  }
  if (HAL_HRTIM_WaveformTimerControl(&hhrtim1, HRTIM_TIMERINDEX_TIMER_E, &pTimerCtl) != HAL_OK)
  {
    Error_Handler();
  }
  pCompareCfg.CompareValue = 340;
  if (HAL_HRTIM_WaveformCompareConfig(&hhrtim1, HRTIM_TIMERINDEX_TIMER_E, HRTIM_COMPAREUNIT_1, &pCompareCfg) != HAL_OK)
  {
    Error_Handler();
  }
  pCompareCfg.CompareValue = 544;

  if (HAL_HRTIM_WaveformCompareConfig(&hhrtim1, HRTIM_TIMERINDEX_TIMER_E, HRTIM_COMPAREUNIT_2, &pCompareCfg) != HAL_OK)
  {
    Error_Handler();
  }
  pCompareCfg.CompareValue = 2584;
  if (HAL_HRTIM_WaveformCompareConfig(&hhrtim1, HRTIM_TIMERINDEX_TIMER_E, HRTIM_COMPAREUNIT_3, &pCompareCfg) != HAL_OK)
  {
    Error_Handler();
  }
  HAL_HRTIM_MspPostInit(&hhrtim1);

}

static void MX_LPUART1_UART_Init(void)
{

  hlpuart1.Instance = LPUART1;
  hlpuart1.Init.BaudRate = 209700;
  hlpuart1.Init.WordLength = UART_WORDLENGTH_8B;
  hlpuart1.Init.StopBits = UART_STOPBITS_1;
  hlpuart1.Init.Parity = UART_PARITY_NONE;
  hlpuart1.Init.Mode = UART_MODE_TX_RX;
  hlpuart1.Init.HwFlowCtl = UART_HWCONTROL_NONE;
  hlpuart1.Init.OneBitSampling = UART_ONE_BIT_SAMPLE_DISABLE;
  hlpuart1.Init.ClockPrescaler = UART_PRESCALER_DIV1;
  hlpuart1.AdvancedInit.AdvFeatureInit = UART_ADVFEATURE_NO_INIT;
  if (HAL_UART_Init(&hlpuart1) != HAL_OK)
  {
    Error_Handler();
  }
  if (HAL_UARTEx_SetTxFifoThreshold(&hlpuart1, UART_TXFIFO_THRESHOLD_1_8) != HAL_OK)
  {
    Error_Handler();
  }
  if (HAL_UARTEx_SetRxFifoThreshold(&hlpuart1, UART_RXFIFO_THRESHOLD_1_8) != HAL_OK)
  {
    Error_Handler();
  }
  if (HAL_UARTEx_DisableFifoMode(&hlpuart1) != HAL_OK)
  {
    Error_Handler();
  }

}

static void MX_TIM2_Init(void)
{

  TIM_ClockConfigTypeDef sClockSourceConfig = {0};
  TIM_MasterConfigTypeDef sMasterConfig = {0};
  TIM_OC_InitTypeDef sConfigOC = {0};

  htim2.Instance = TIM2;
  htim2.Init.Prescaler = 1699;
  htim2.Init.CounterMode = TIM_COUNTERMODE_UP;
  htim2.Init.Period = 100000;
  htim2.Init.ClockDivision = TIM_CLOCKDIVISION_DIV1;
  htim2.Init.AutoReloadPreload = TIM_AUTORELOAD_PRELOAD_ENABLE;
  if (HAL_TIM_Base_Init(&htim2) != HAL_OK)
  {
    Error_Handler();
  }
  sClockSourceConfig.ClockSource = TIM_CLOCKSOURCE_INTERNAL;
  if (HAL_TIM_ConfigClockSource(&htim2, &sClockSourceConfig) != HAL_OK)
  {
    Error_Handler();
  }
  if (HAL_TIM_PWM_Init(&htim2) != HAL_OK)
  {
    Error_Handler();
  }
  sMasterConfig.MasterOutputTrigger = TIM_TRGO_UPDATE;
  sMasterConfig.MasterSlaveMode = TIM_MASTERSLAVEMODE_DISABLE;
  if (HAL_TIMEx_MasterConfigSynchronization(&htim2, &sMasterConfig) != HAL_OK)
  {
    Error_Handler();
  }
  sConfigOC.OCMode = TIM_OCMODE_PWM1;
  sConfigOC.Pulse = 0;
  sConfigOC.OCPolarity = TIM_OCPOLARITY_HIGH;
  sConfigOC.OCFastMode = TIM_OCFAST_DISABLE;
  if (HAL_TIM_PWM_ConfigChannel(&htim2, &sConfigOC, TIM_CHANNEL_1) != HAL_OK)
  {
    Error_Handler();
  }

}

static void MX_DMA_Init(void)
{

  /* DMA controller clock enable */
  __HAL_RCC_DMAMUX1_CLK_ENABLE();
  __HAL_RCC_DMA1_CLK_ENABLE();

}

static void MX_GPIO_Init(void)
{
  GPIO_InitTypeDef GPIO_InitStruct = {0};

  /* GPIO Ports Clock Enable */
  __HAL_RCC_GPIOC_CLK_ENABLE();
  __HAL_RCC_GPIOF_CLK_ENABLE();
  __HAL_RCC_GPIOA_CLK_ENABLE();
  __HAL_RCC_GPIOB_CLK_ENABLE();

  /*Configure GPIO pin Output Level */
  HAL_GPIO_WritePin(LD2_GPIO_Port, LD2_Pin, GPIO_PIN_RESET);

  /*Configure GPIO pin Output Level */
  HAL_GPIO_WritePin(GPIOC, GPIO_PIN_6, GPIO_PIN_RESET);

  /*Configure GPIO pin : B1_Pin */
  GPIO_InitStruct.Pin = B1_Pin;
  GPIO_InitStruct.Mode = GPIO_MODE_IT_RISING;
  GPIO_InitStruct.Pull = GPIO_NOPULL;
  HAL_GPIO_Init(B1_GPIO_Port, &GPIO_InitStruct);

  /*Configure GPIO pin : LD2_Pin */
  GPIO_InitStruct.Pin = LD2_Pin;
  GPIO_InitStruct.Mode = GPIO_MODE_OUTPUT_PP;
  GPIO_InitStruct.Pull = GPIO_NOPULL;
  GPIO_InitStruct.Speed = GPIO_SPEED_FREQ_LOW;
  HAL_GPIO_Init(LD2_GPIO_Port, &GPIO_InitStruct);

  /*Configure GPIO pin : PC6 */
  GPIO_InitStruct.Pin = GPIO_PIN_6;
  GPIO_InitStruct.Mode = GPIO_MODE_OUTPUT_PP;
  GPIO_InitStruct.Pull = GPIO_NOPULL;
  GPIO_InitStruct.Speed = GPIO_SPEED_FREQ_LOW;
  HAL_GPIO_Init(GPIOC, &GPIO_InitStruct);

  /* EXTI interrupt init*/
  HAL_NVIC_SetPriority(EXTI15_10_IRQn, 0, 0);
  HAL_NVIC_EnableIRQ(EXTI15_10_IRQn);

}

/* USER CODE BEGIN 4 */

/* ISR for the end of the TIM2 period */
void HAL_TIM_PeriodElapsedCallback(TIM_HandleTypeDef *htim)
{
	if (htim->Instance == TIM2)
	{

		/* Toggle the user LED to indicate that the Callback is executed (only debug mode!) */
		HAL_GPIO_TogglePin(GPIOA, GPIO_PIN_5);

		if (Regime_Startupn == 0)
		{

		    /* Startup phase: update equivalent duty cycle by 1% and update compare registers */
			Deq = Deq + 0.01;
		    __HAL_HRTIM_SETCOMPARE(&hhrtim1,  HRTIM_TIMERINDEX_TIMER_A, HRTIM_COMPAREUNIT_1, (uint16_t)(Deq*Tsw_ticks));
		    __HAL_HRTIM_SETCOMPARE(&hhrtim1,  HRTIM_TIMERINDEX_TIMER_A, HRTIM_COMPAREUNIT_3, (uint16_t)((1+2*Deq)*Tsw_ticks/2));

		    // Half-cycle skipping
		    //__HAL_HRTIM_SETCOMPARE(&hhrtim1,  HRTIM_TIMERINDEX_TIMER_A, HRTIM_COMPAREUNIT_2, (uint16_t)((1+CS_normaln)*Tsw_ticks/2));
		    //__HAL_HRTIM_SETCOMPARE(&hhrtim1,  HRTIM_TIMERINDEX_TIMER_A, HRTIM_COMPAREUNIT_3, (uint16_t)((1+CS_normaln+2*Deq)*Tsw_ticks/2));

		} else {

				count = count+1;
				Vin_tot = Vin_tot+ADC_Value[0];
				Iin_tot = Iin_tot+ADC_Value[1];
				Vb_tot = Vb_tot+ADC_Value[3];
				Vout_tot = Vout_tot+ADC_Value[2];

				/* Check on Vout: correct Ton in case of overvoltage */
				if (ADC_Value[2] >= Vout_max_int) {
					/* Enter the OV state */
					OV_flag = 1;

				} else if (ADC_Value[2] < Vout_min_hyst && OV_flag == 1) {
					/* Exit the overvoltage state: reset the flag and reactivate timers with initial Ton value */
					OV_flag = 0;
					OVexit_flag = 1;
				}

		}
		/* Close Regime or startup state check */

	}	/* Close ISR of TIM2 */
}

/* Callback for external asynchronous reset triggered by the B1 pushbutton */
/* Comment: in a future release, implement again the soft startup to come back from the OFF state */
void HAL_GPIO_EXTI_Callback(uint16_t GPIO_Pin)
{

	if (GPIO_Pin == B1_Pin)
	{
		/* When the B1 pushbutton is pressed, both the HRTIM channels must be reset and their outputs set to 0, and the TIM2 that triggers the ADC must be stopped as well */
		HAL_HRTIM_SoftwareReset(&hhrtim1, HRTIM_TIMERRESET_TIMER_A);
		HAL_HRTIM_SoftwareReset(&hhrtim1, HRTIM_TIMERRESET_TIMER_E);

		// Interrupt the PWM generation on all the PWM channels
		HAL_HRTIM_SimplePWMStop(&hhrtim1, HRTIM_TIMERINDEX_TIMER_A, HRTIM_OUTPUT_TA1);
		HAL_HRTIM_SimplePWMStop(&hhrtim1, HRTIM_TIMERINDEX_TIMER_A, HRTIM_OUTPUT_TA2);
		HAL_HRTIM_SimplePWMStop(&hhrtim1, HRTIM_TIMERINDEX_TIMER_E, HRTIM_OUTPUT_TE1);
		HAL_HRTIM_SimplePWMStop(&hhrtim1, HRTIM_TIMERINDEX_TIMER_E, HRTIM_OUTPUT_TE2);

		HAL_TIM_Base_Stop_IT(&htim2);
	}
}

/* USER CODE END 4 */

void Error_Handler(void)
{
  __disable_irq();
  while (1)
  {
  }
}
